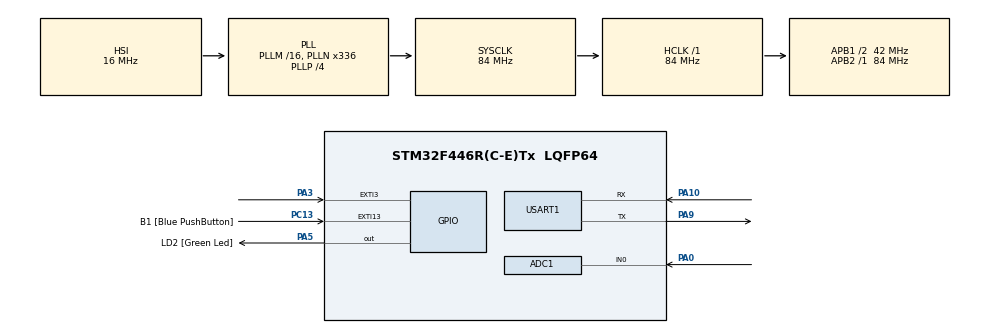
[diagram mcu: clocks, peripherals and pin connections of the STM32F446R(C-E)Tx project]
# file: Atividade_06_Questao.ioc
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ADC1.Channel-0\#ChannelRegularConversion=ADC_CHANNEL_0
ADC1.NbrOfConversionFlag=1
ADC1.Rank-0\#ChannelRegularConversion=1
ADC1.SamplingTime-0\#ChannelRegularConversion=ADC_SAMPLETIME_3CYCLES
ADC1.master=1
FREERTOS.BinarySemaphores01=semReadADC,Dynamic,NULL,Depleted;semAverage,Dynamic,NULL,Depleted
FREERTOS.Queues01=BufferADC,32,double,0,Dynamic,NULL,NULL
FREERTOS.Tasks01=Task01,24,512,StartTask01,Default,NULL,Dynamic,NULL,NULL;Task02,24,512,StartTask02,Default,NULL,Dynamic,NULL,NULL
FREERTOS.configUSE_NEWLIB_REENTRANT=1
Mcu.Family=STM32F4
Mcu.Name=STM32F446R(C-E)Tx
Mcu.Package=LQFP64
NVIC.EXTI15_10_IRQn=true\:5\:0\:false\:false\:true\:true\:true\:true\:true
NVIC.PriorityGroup=NVIC_PRIORITYGROUP_4
NVIC.TIM6_DAC_IRQn=true\:15\:0\:false\:false\:true\:false\:false\:true\:true
NVIC.TimeBase=TIM6_DAC_IRQn
NVIC.TimeBaseIP=TIM6
PA0-WKUP.Signal=ADCx_IN0
PA10.Mode=Asynchronous
PA10.Signal=USART1_RX
PA13.GPIO_Label=TMS
PA13.Mode=Serial_Wire
PA13.Signal=SYS_JTMS-SWDIO
PA14.GPIO_Label=TCK
PA14.Mode=Serial_Wire
PA14.Signal=SYS_JTCK-SWCLK
PA3.Signal=GPXTI3
PA5.GPIO_Label=LD2 [Green Led]
PA5.Signal=GPIO_Output
PA9.Mode=Asynchronous
PA9.Signal=USART1_TX
PB3.GPIO_Label=SWO
PB3.Signal=SYS_JTDO-SWO
PC13.GPIO_Label=B1 [Blue PushButton]
PC13.GPIO_ModeDefaultEXTI=GPIO_MODE_IT_FALLING
PC13.Signal=GPXTI13
PC14-OSC32_IN.Mode=LSE-External-Oscillator
PC14-OSC32_IN.Signal=RCC_OSC32_IN
PC15-OSC32_OUT.Mode=LSE-External-Oscillator
PC15-OSC32_OUT.Signal=RCC_OSC32_OUT
PH0-OSC_IN.Mode=HSE-External-Oscillator
PH0-OSC_IN.Signal=RCC_OSC_IN
PH1-OSC_OUT.Mode=HSE-External-Oscillator
PH1-OSC_OUT.Signal=RCC_OSC_OUT
ProjectManager.HeapSize=0x200
ProjectManager.StackSize=0x400
ProjectManager.TargetToolchain=STM32CubeIDE
RCC.48MHZClocksFreq_Value=84000000
RCC.AHBFreq_Value=84000000
RCC.APB1CLKDivider=RCC_HCLK_DIV2
RCC.APB1Freq_Value=42000000
RCC.APB1TimFreq_Value=84000000
RCC.APB2Freq_Value=84000000
RCC.APB2TimFreq_Value=84000000
RCC.CortexFreq_Value=84000000
RCC.FLatency-AdvancedSettings=FLASH_LATENCY_2
RCC.HCLKFreq_Value=84000000
RCC.HSE_VALUE=8000000
RCC.HSI_VALUE=16000000
RCC.PLLN=336
RCC.PLLP=RCC_PLLP_DIV4
RCC.SYSCLKFreq_VALUE=84000000
RCC.SYSCLKSource=RCC_SYSCLKSOURCE_PLLCLK
RCC.USBFreq_Value=168000000
RCC.VCOOutputFreq_Value=336000000
SH.ADCx_IN0.0=ADC1_IN0,IN0
USART1.VirtualMode=VM_ASYNC
VP_FREERTOS_VS_CMSIS_V2.Mode=CMSIS_V2
VP_SYS_VS_tim6.Mode=TIM6
board=NUCLEO-F446RE

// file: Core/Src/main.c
/* USER CODE BEGIN Header */
/**
  ******************************************************************************
  * @file           : main.c
  * @brief          : Main program body
  ******************************************************************************
  * @attention
  *
  * Copyright (c) 2025 STMicroelectronics.
  * All rights reserved.
  *
  * This software is licensed under terms that can be found in the LICENSE file
  * in the root directory of this software component.
  * If no LICENSE file comes with this software, it is provided AS-IS.
  *
  ******************************************************************************
  */
/* USER CODE END Header */
#include "main.h"
#include "cmsis_os.h"

/* USER CODE BEGIN Includes */
#include<stdio.h>
#include<string.h>
/* USER CODE END Includes */

/* USER CODE BEGIN PD */
#define NUM_SAMPLES 1024
#define TAM_BUFFER 32

/* USER CODE END PD */

ADC_HandleTypeDef hadc1;

UART_HandleTypeDef huart1;

/* Definitions for Task01 */
osThreadId_t Task01Handle;
const osThreadAttr_t Task01_attributes = {
  .name = "Task01",
  .stack_size = 512 * 4,
  .priority = (osPriority_t) osPriorityNormal,
};
/* Definitions for Task02 */
osThreadId_t Task02Handle;
const osThreadAttr_t Task02_attributes = {
  .name = "Task02",
  .stack_size = 512 * 4,
  .priority = (osPriority_t) osPriorityNormal,
};
/* Definitions for BufferADC */
osMessageQueueId_t BufferADCHandle;
const osMessageQueueAttr_t BufferADC_attributes = {
  .name = "BufferADC"
};
/* Definitions for semReadADC */
osSemaphoreId_t semReadADCHandle;
const osSemaphoreAttr_t semReadADC_attributes = {
  .name = "semReadADC"
};
/* Definitions for semAverage */
osSemaphoreId_t semAverageHandle;
const osSemaphoreAttr_t semAverage_attributes = {
  .name = "semAverage"
};
/* USER CODE BEGIN PV */
double AverageFinal = 0;

/* USER CODE END PV */

void SystemClock_Config(void);
static void MX_GPIO_Init(void);
static void MX_ADC1_Init(void);
static void MX_USART1_UART_Init(void);
void StartTask01(void *argument);
void StartTask02(void *argument);

/* USER CODE BEGIN 0 */
double map(uint16_t x, float in_min, float in_max, float out_min, float out_max)
{
    return (x - in_min) * (out_max - out_min) / (in_max - in_min) + out_min;
}

void HAL_GPIO_EXTI_Callback(uint16_t pin)
{
	if(pin == B1_Pin)
	{
		osSemaphoreRelease(semReadADCHandle);
	}

}

/* USER CODE END 0 */

int main(void)
{

  /* MCU Configuration--------------------------------------------------------*/

  /* Reset of all peripherals, Initializes the Flash interface and the Systick. */
  HAL_Init();

  /* Configure the system clock */
  SystemClock_Config();

  /* Initialize all configured peripherals */
  MX_GPIO_Init();
  MX_ADC1_Init();
  MX_USART1_UART_Init();

  /* Init scheduler */
  osKernelInitialize();

  /* Create the semaphores(s) */
  /* creation of semReadADC */
  semReadADCHandle = osSemaphoreNew(1, 0, &semReadADC_attributes);

  /* creation of semAverage */
  semAverageHandle = osSemaphoreNew(1, 0, &semAverage_attributes);

  /* Create the queue(s) */
  /* creation of BufferADC */
  BufferADCHandle = osMessageQueueNew (32, sizeof(double), &BufferADC_attributes);

  /* Create the thread(s) */
  /* creation of Task01 */
  Task01Handle = osThreadNew(StartTask01, NULL, &Task01_attributes);

  /* creation of Task02 */
  Task02Handle = osThreadNew(StartTask02, NULL, &Task02_attributes);

  /* Start scheduler */
  osKernelStart();

  /* We should never get here as control is now taken by the scheduler */

  /* Infinite loop */
  while (1)
  {

  }
}

void SystemClock_Config(void)
{
  RCC_OscInitTypeDef RCC_OscInitStruct = {0};
  RCC_ClkInitTypeDef RCC_ClkInitStruct = {0};

  /** Configure the main internal regulator output voltage
  */
  __HAL_RCC_PWR_CLK_ENABLE();
  __HAL_PWR_VOLTAGESCALING_CONFIG(PWR_REGULATOR_VOLTAGE_SCALE3);

  /** Initializes the RCC Oscillators according to the specified parameters
  * in the RCC_OscInitTypeDef structure.
  */
  RCC_OscInitStruct.OscillatorType = RCC_OSCILLATORTYPE_HSI;
  RCC_OscInitStruct.HSIState = RCC_HSI_ON;
  RCC_OscInitStruct.HSICalibrationValue = RCC_HSICALIBRATION_DEFAULT;
  RCC_OscInitStruct.PLL.PLLState = RCC_PLL_ON;
  RCC_OscInitStruct.PLL.PLLSource = RCC_PLLSOURCE_HSI;
  RCC_OscInitStruct.PLL.PLLM = 16;
  RCC_OscInitStruct.PLL.PLLN = 336;
  RCC_OscInitStruct.PLL.PLLP = RCC_PLLP_DIV4;
  RCC_OscInitStruct.PLL.PLLQ = 2;
  RCC_OscInitStruct.PLL.PLLR = 2;
  if (HAL_RCC_OscConfig(&RCC_OscInitStruct) != HAL_OK)
  {
    Error_Handler();
  }

  /** Initializes the CPU, AHB and APB buses clocks
  */
  RCC_ClkInitStruct.ClockType = RCC_CLOCKTYPE_HCLK|RCC_CLOCKTYPE_SYSCLK
                              |RCC_CLOCKTYPE_PCLK1|RCC_CLOCKTYPE_PCLK2;
  RCC_ClkInitStruct.SYSCLKSource = RCC_SYSCLKSOURCE_PLLCLK;
  RCC_ClkInitStruct.AHBCLKDivider = RCC_SYSCLK_DIV1;
  RCC_ClkInitStruct.APB1CLKDivider = RCC_HCLK_DIV2;
  RCC_ClkInitStruct.APB2CLKDivider = RCC_HCLK_DIV1;

  if (HAL_RCC_ClockConfig(&RCC_ClkInitStruct, FLASH_LATENCY_2) != HAL_OK)
  {
    Error_Handler();
  }
}

static void MX_ADC1_Init(void)
{

  ADC_ChannelConfTypeDef sConfig = {0};

  /** Configure the global features of the ADC (Clock, Resolution, Data Alignment and number of conversion)
  */
  hadc1.Instance = ADC1;
  hadc1.Init.ClockPrescaler = ADC_CLOCK_SYNC_PCLK_DIV4;
  hadc1.Init.Resolution = ADC_RESOLUTION_12B;
  hadc1.Init.ScanConvMode = DISABLE;
  hadc1.Init.ContinuousConvMode = DISABLE;
  hadc1.Init.DiscontinuousConvMode = DISABLE;
  hadc1.Init.ExternalTrigConvEdge = ADC_EXTERNALTRIGCONVEDGE_NONE;
  hadc1.Init.ExternalTrigConv = ADC_SOFTWARE_START;
  hadc1.Init.DataAlign = ADC_DATAALIGN_RIGHT;
  hadc1.Init.NbrOfConversion = 1;
  hadc1.Init.DMAContinuousRequests = DISABLE;
  hadc1.Init.EOCSelection = ADC_EOC_SINGLE_CONV;
  if (HAL_ADC_Init(&hadc1) != HAL_OK)
  {
    Error_Handler();
  }

  /** Configure for the selected ADC regular channel its corresponding rank in the sequencer and its sample time.
  */
  sConfig.Channel = ADC_CHANNEL_0;
  sConfig.Rank = 1;
  sConfig.SamplingTime = ADC_SAMPLETIME_3CYCLES;
  if (HAL_ADC_ConfigChannel(&hadc1, &sConfig) != HAL_OK)
  {
    Error_Handler();
  }

}

static void MX_USART1_UART_Init(void)
{

  huart1.Instance = USART1;
  huart1.Init.BaudRate = 115200;
  huart1.Init.WordLength = UART_WORDLENGTH_8B;
  huart1.Init.StopBits = UART_STOPBITS_1;
  huart1.Init.Parity = UART_PARITY_NONE;
  huart1.Init.Mode = UART_MODE_TX_RX;
  huart1.Init.HwFlowCtl = UART_HWCONTROL_NONE;
  huart1.Init.OverSampling = UART_OVERSAMPLING_16;
  if (HAL_UART_Init(&huart1) != HAL_OK)
  {
    Error_Handler();
  }

}

static void MX_GPIO_Init(void)
{
  GPIO_InitTypeDef GPIO_InitStruct = {0};

  /* GPIO Ports Clock Enable */
  __HAL_RCC_GPIOC_CLK_ENABLE();
  __HAL_RCC_GPIOH_CLK_ENABLE();
  __HAL_RCC_GPIOA_CLK_ENABLE();
  __HAL_RCC_GPIOB_CLK_ENABLE();

  /*Configure GPIO pin Output Level */
  HAL_GPIO_WritePin(LD2_GPIO_Port, LD2_Pin, GPIO_PIN_RESET);

  /*Configure GPIO pin : B1_Pin */
  GPIO_InitStruct.Pin = B1_Pin;
  GPIO_InitStruct.Mode = GPIO_MODE_IT_FALLING;
  GPIO_InitStruct.Pull = GPIO_NOPULL;
  HAL_GPIO_Init(B1_GPIO_Port, &GPIO_InitStruct);

  /*Configure GPIO pin : PA3 */
  GPIO_InitStruct.Pin = GPIO_PIN_3;
  GPIO_InitStruct.Mode = GPIO_MODE_IT_RISING;
  GPIO_InitStruct.Pull = GPIO_NOPULL;
  HAL_GPIO_Init(GPIOA, &GPIO_InitStruct);

  /*Configure GPIO pin : LD2_Pin */
  GPIO_InitStruct.Pin = LD2_Pin;
  GPIO_InitStruct.Mode = GPIO_MODE_OUTPUT_PP;
  GPIO_InitStruct.Pull = GPIO_NOPULL;
  GPIO_InitStruct.Speed = GPIO_SPEED_FREQ_LOW;
  HAL_GPIO_Init(LD2_GPIO_Port, &GPIO_InitStruct);

  /* EXTI interrupt init*/
  HAL_NVIC_SetPriority(EXTI15_10_IRQn, 5, 0);
  HAL_NVIC_EnableIRQ(EXTI15_10_IRQn);

}

void StartTask01(void *argument)
{
  /* USER CODE BEGIN 5 */
	char msg[50];
	uint16_t adc_value = 0;
	double voltage_value = 0;

  /* Infinite loop */
  for(;;)
  {
	  osSemaphoreAcquire(semReadADCHandle, osWaitForever);

	  for(uint8_t i = 0 ;i<TAM_BUFFER;i++)
	  {
		  for(uint8_t j = 0;j<TAM_BUFFER;j++)
		  {
			  HAL_ADC_Start(&hadc1);

			  if(HAL_ADC_PollForConversion(&hadc1, 10) == HAL_OK)
			  {
				  adc_value = HAL_ADC_GetValue(&hadc1);

				  voltage_value = map(adc_value,0,4095,0,3.3);
				  osMessageQueuePut(BufferADCHandle,&voltage_value ,0,osWaitForever);
			  }
		  }
		  osSemaphoreRelease(semAverageHandle);
		  osSemaphoreAcquire(semReadADCHandle, osWaitForever);
	  }

	  snprintf(msg,sizeof(msg),"O Valor da Media: %lf",AverageFinal);
	  HAL_UART_Transmit(&huart1, (uint8_t *)msg,strlen(msg),100);

	  AverageFinal = 0;
      osDelay(100);
  }
  /* USER CODE END 5 */
}

void StartTask02(void *argument)
{
  /* USER CODE BEGIN StartTask02 */
	double sum = 0;
	double average;
	double voltage_value = 0;

  /* Infinite loop */
  for(;;)
  {
	  osSemaphoreAcquire(semAverageHandle, osWaitForever);

	  for(uint8_t i =0; i<TAM_BUFFER;i++)
	  {

		  osMessageQueueGet(BufferADCHandle,&voltage_value,NULL,osWaitForever);
		  sum+=voltage_value;

	  }

	  average = sum/NUM_SAMPLES;
	  sum = 0;

	  AverageFinal+=average;

	  osSemaphoreRelease(semReadADCHandle);

    osDelay(100);
  }
  /* USER CODE END StartTask02 */
}

void HAL_TIM_PeriodElapsedCallback(TIM_HandleTypeDef *htim)
{
  if (htim->Instance == TIM6)
  {
    HAL_IncTick();
  }
}

void Error_Handler(void)
{
  __disable_irq();
  while (1)
  {
  }
}
